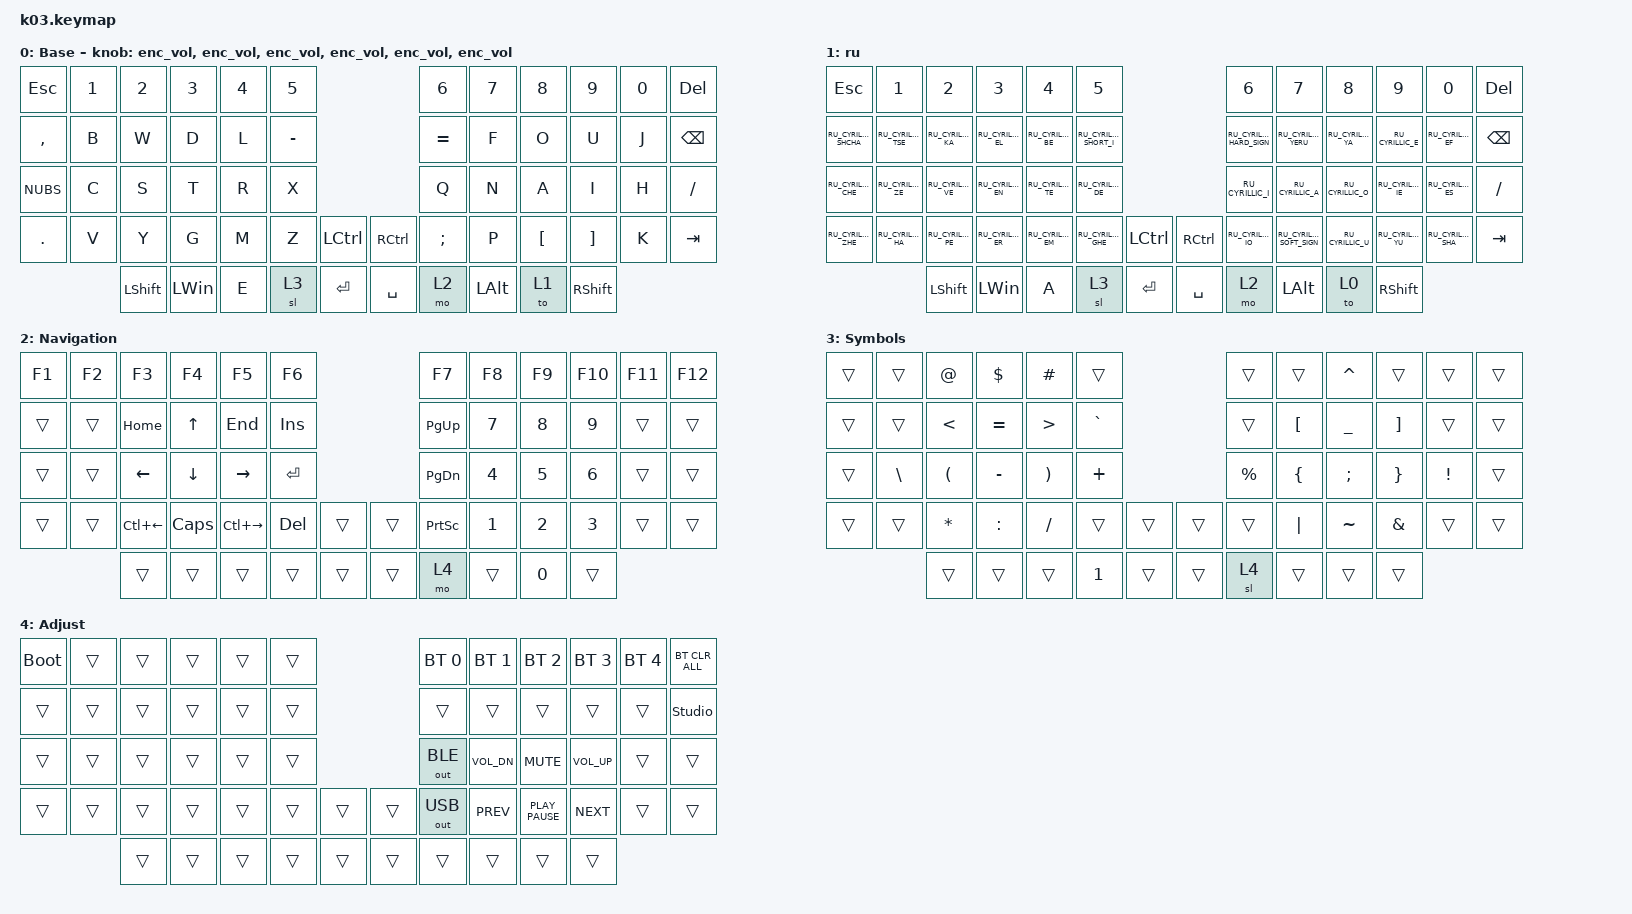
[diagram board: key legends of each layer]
#include "keys_ru.h"
#include <behaviors.dtsi>
#include <dt-bindings/zmk/bt.h>
#include <dt-bindings/zmk/keys.h>
#include <dt-bindings/zmk/outputs.h>

/ {
    behaviors {
        enc_vol: enc_vol {
            compatible = "zmk,behavior-sensor-rotate";
            label = "ENC_VOL";
            #sensor-binding-cells = <0>;
            bindings = <&kp C_VOL_UP>, <&kp C_VOL_DN>;
        };
    };

    keymap {
        compatible = "zmk,keymap";

        en {
            bindings = <
&kp ESC    &kp N1  &kp N2          &kp NUMBER_3  &kp N4  &kp N5                                            &kp N6     &kp N7        &kp N8            &kp N9             &kp N0  &kp DELETE
&kp COMMA  &kp B   &kp W           &kp D         &kp L   &kp MINUS                                         &kp EQUAL  &kp F         &kp O             &kp U              &kp J   &kp BACKSPACE
&kp NUBS   &kp C   &kp S           &kp T         &kp R   &kp X                                             &kp Q      &kp N         &kp A             &kp I              &kp H   &kp FSLH
&kp DOT    &kp V   &kp Y           &kp G         &kp M   &kp Z      &kp LEFT_CONTROL    &kp RIGHT_CONTROL  &kp SEMI   &kp P         &kp LEFT_BRACKET  &kp RIGHT_BRACKET  &kp K   &kp TAB
                   &kp LEFT_SHIFT  &kp LEFT_WIN  &kp E   &sl 3      &kp ENTER           &kp SPACE          &mo 2      &kp LEFT_ALT  &to 1             &kp RIGHT_SHIFT
            >;

            display-name = "Base";
            sensor-bindings =
                <&enc_vol>,
                <&enc_vol>,
                <&enc_vol>,
                <&enc_vol>,
                <&enc_vol>,
                <&enc_vol>;
        };

        ru {
            bindings = <
&kp ESC                &kp N1               &kp N2              &kp N3              &kp N4              &kp N5                                                  &kp N6                     &kp N7                     &kp N8              &kp N9              &kp N0               &kp DELETE
&kp RU_CYRILLIC_SHCHA  &kp RU_CYRILLIC_TSE  &kp RU_CYRILLIC_KA  &kp RU_CYRILLIC_EL  &kp RU_CYRILLIC_BE  &kp RU_CYRILLIC_SHORT_I                                 &kp RU_CYRILLIC_HARD_SIGN  &kp RU_CYRILLIC_YERU       &kp RU_CYRILLIC_YA  &kp RU_CYRILLIC_E   &kp RU_CYRILLIC_EF   &kp BACKSPACE
&kp RU_CYRILLIC_CHE    &kp RU_CYRILLIC_ZE   &kp RU_CYRILLIC_VE  &kp RU_CYRILLIC_EN  &kp RU_CYRILLIC_TE  &kp RU_CYRILLIC_DE                                      &kp RU_CYRILLIC_I          &kp RU_CYRILLIC_A          &kp RU_CYRILLIC_O   &kp RU_CYRILLIC_IE  &kp RU_CYRILLIC_ES   &kp FSLH
&kp RU_CYRILLIC_ZHE    &kp RU_CYRILLIC_HA   &kp RU_CYRILLIC_PE  &kp RU_CYRILLIC_ER  &kp RU_CYRILLIC_EM  &kp RU_CYRILLIC_GHE      &kp LEFT_CONTROL    &kp RCTRL  &kp RU_CYRILLIC_IO         &kp RU_CYRILLIC_SOFT_SIGN  &kp RU_CYRILLIC_U   &kp RU_CYRILLIC_YU  &kp RU_CYRILLIC_SHA  &kp TAB
                                            &kp LEFT_SHIFT      &kp LEFT_WIN        &kp A               &sl 3                    &kp ENTER           &kp SPACE  &mo 2                      &kp LEFT_ALT               &to 0               &kp RIGHT_SHIFT
            >;
        };

        nav {
            bindings = <
&kp F1  &kp F2  &kp F3        &kp F4    &kp F5         &kp F6                     &kp F7           &kp F8  &kp F9  &kp F10  &kp F11  &kp F12
&trans  &trans  &kp HOME      &kp UP    &kp END        &kp INS                    &kp PG_UP        &kp N7  &kp N8  &kp N9   &trans   &trans
&trans  &trans  &kp LEFT      &kp DOWN  &kp RIGHT      &kp RET                    &kp PG_DN        &kp N4  &kp N5  &kp N6   &trans   &trans
&trans  &trans  &kp LC(LEFT)  &kp CAPS  &kp LC(RIGHT)  &kp DEL  &trans    &trans  &kp PRINTSCREEN  &kp N1  &kp N2  &kp N3   &trans   &trans
                &trans        &trans    &trans         &trans   &trans    &trans  &mo 4            &trans  &kp N0  &trans
            >;

            display-name = "Navigation";
        };

        sym {
            bindings = <
&trans  &trans    &kp AT    &kp DLLR   &kp HASH  &trans                       &trans     &trans    &kp CARET  &trans    &trans    &trans
&trans  &trans    &kp LT    &kp EQUAL  &kp GT    &kp GRAVE                    &trans     &kp LBKT  &kp UNDER  &kp RBKT  &trans    &trans
&trans  &kp BSLH  &kp LPAR  &kp MINUS  &kp RPAR  &kp PLUS                     &kp PRCNT  &kp LBRC  &kp SEMI   &kp RBRC  &kp EXCL  &trans
&trans  &trans    &kp STAR  &kp COLON  &kp FSLH  &trans     &trans    &trans  &trans     &kp PIPE  &kp TILDE  &kp AMPS  &trans    &trans
                  &trans    &trans     &trans    &kp N1     &trans    &trans  &sl 4      &trans    &trans     &trans
            >;

            display-name = "Symbols";
        };

        adj {
            bindings = <
&bootloader  &trans  &trans  &trans  &trans  &trans                    &bt BT_SEL 0  &bt BT_SEL 1  &bt BT_SEL 2      &bt BT_SEL 3  &bt BT_SEL 4  &bt BT_CLR_ALL
&trans       &trans  &trans  &trans  &trans  &trans                    &trans        &trans        &trans            &trans        &trans        &studio_unlock
&trans       &trans  &trans  &trans  &trans  &trans                    &out OUT_BLE  &kp C_VOL_DN  &kp K_MUTE        &kp C_VOL_UP  &trans        &trans
&trans       &trans  &trans  &trans  &trans  &trans  &trans    &trans  &out OUT_USB  &kp K_PREV    &kp K_PLAY_PAUSE  &kp K_NEXT    &trans        &trans
                     &trans  &trans  &trans  &trans  &trans    &trans  &trans        &trans        &trans            &trans
            >;

            display-name = "Adjust";
        };
    };
};
